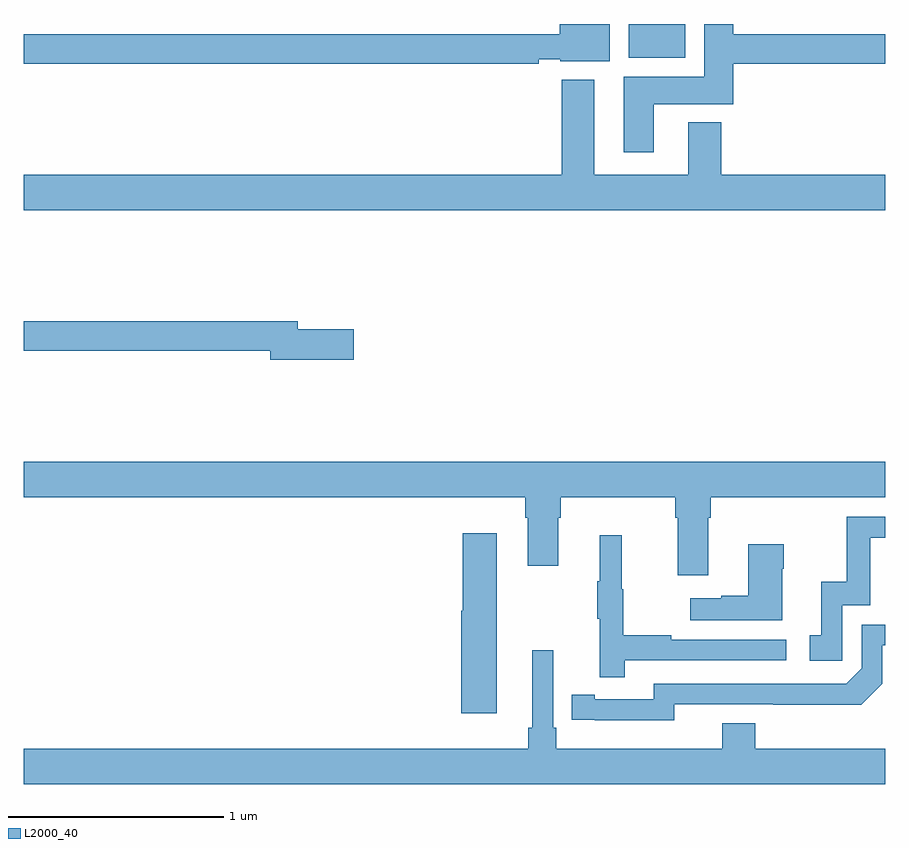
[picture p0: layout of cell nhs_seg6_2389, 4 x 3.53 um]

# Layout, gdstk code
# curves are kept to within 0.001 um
import gdstk
lib = gdstk.Library(unit=1e-6, precision=1e-09)
def R(c, l, rs):  # rectangles x0, y0, x1, y1
    for r in rs: c.add(gdstk.rectangle(r[:2], r[2:], *l))
def P(c, l, *ps):  # polygons
    for p in ps: c.add(gdstk.Polygon(p, *l))
L2000_40 = (2000, 40)

nhs_seg6_2389 = lib.new_cell('nhs_seg6_2389')
R(nhs_seg6_2389, L2000_40, [(255.809,981.344,256.072,981.5)])
P(nhs_seg6_2389, L2000_40, [(255.925,981.128),(256.295,981.128),(256.295,981.316),(257,981.316),(257,981.452),(256.295,981.452),(256.295,981.5),(256.16,981.5),(256.16,981.256),(255.785,981.256),(255.785,980.904),(255.925,980.904)],
  [(255.392,981.336),(255.492,981.336),(255.492,981.326),(255.721,981.326),(255.721,981.5),(255.488,981.5),(255.488,981.452),(253,981.452),(253,981.316),(255.392,981.316)],
  [(257,980.8),(256.238,980.8),(256.238,981.043),(256.085,981.043),(256.085,980.8),(255.649,980.8),(255.649,981.241),(255.497,981.241),(255.497,980.8),(253,980.8),(253,980.636),(257,980.636)],
  [(254.533,980.084),(254.272,980.084),(254.272,980.12),(253,980.12),(253,979.984),(254.144,979.984),(254.144,979.942),(254.533,979.942)],
  [(253,979.304),(255.329,979.304),(255.329,979.208),(255.341,979.208),(255.341,978.984),(255.481,978.984),(255.481,979.208),(255.494,979.208),(255.494,979.304),(256.025,979.304),(256.025,979.208),(256.037,979.208),(256.037,978.942),(256.177,978.942),(256.177,979.208),(256.19,979.208),(256.19,979.304),(257,979.304),(257,979.468),(253,979.468)],
  [(256.8,978.801),(256.929,978.801),(256.929,979.116),(257,979.116),(257,979.212),(256.821,979.212),(256.821,978.91),(256.703,978.91),(256.703,978.663),(256.65,978.663),(256.65,978.543),(256.8,978.543)],
  [(255.196,979.135),(255.038,979.135),(255.038,978.777),(255.032,978.777),(255.032,978.3),(255.196,978.3)],
  [(255.791,978.546),(256.54,978.546),(256.54,978.642),(256.007,978.642),(256.007,978.662),(255.784,978.662),(255.784,978.876),(255.776,978.876),(255.776,979.126),(255.674,979.126),(255.674,978.913),(255.663,978.913),(255.663,978.739),(255.674,978.739),(255.674,978.468),(255.791,978.468)],
  [(256.522,978.971),(256.529,978.971),(256.529,979.084),(256.364,979.084),(256.364,978.845),(256.238,978.845),(256.238,978.835),(256.095,978.835),(256.095,978.731),(256.522,978.731)],
  [(256.02,978.342),(256.888,978.341),(256.986,978.438),(256.986,978.615),(257,978.615),(257,978.711),(256.89,978.711),(256.89,978.51),(256.818,978.438),(255.924,978.438),(255.924,978.366),(255.652,978.366),(255.652,978.386),(255.544,978.386),(255.544,978.27),(256.02,978.269)],
  [(257,978.136),(256.397,978.136),(256.397,978.253),(256.244,978.253),(256.244,978.136),(255.473,978.136),(255.473,978.232),(255.459,978.232),(255.459,978.592),(255.362,978.592),(255.362,978.232),(255.343,978.232),(255.343,978.136),(253,978.136),(253,977.972),(257,977.972)])

lib.write_gds('nhs_seg6_2389.gds')
